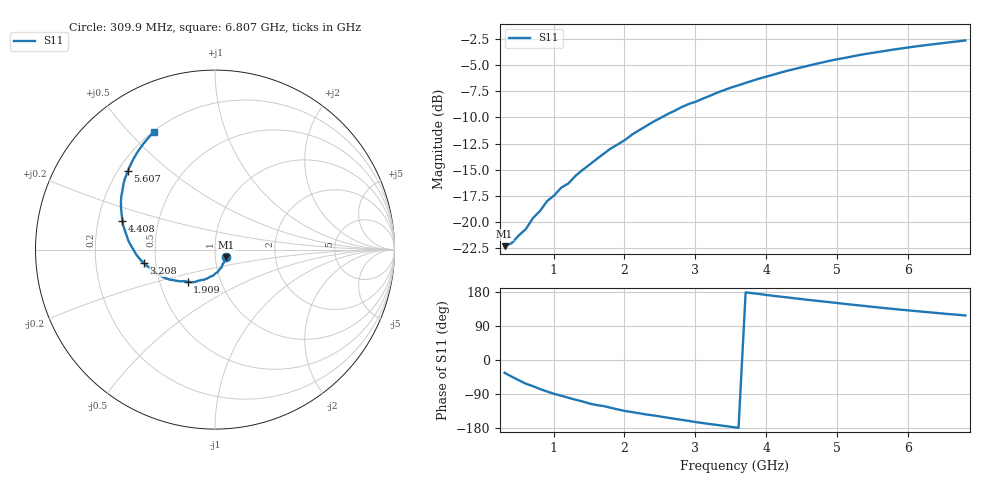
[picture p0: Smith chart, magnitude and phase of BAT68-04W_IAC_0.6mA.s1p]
! Infineon Technologies  Discrete & RF Semiconductors
! BAT68-04W
! IAC = 0.6 mA
! One-Port S-Parameters
# Hz  S  MA  R  50
!f  S11
!Hz  Mag  Ang
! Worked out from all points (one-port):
!   66 points, 309.9 MHz to 6.807 GHz, reference 50 ohm
!   lowest |S11| = -22.3 dB at 309.9 MHz (marker M1), VSWR 1.17, Z = 56.6 - j4.85 ohm
!   |S11| at or under -10 dB: start of sweep to 2.522 GHz
!   S11 on the Smith chart (normalised r, x): 309.9 MHz: 1.13, -0.10; 1.909 GHz: 0.69, -0.26; 3.208 GHz: 0.43, -0.08; 4.408 GHz: 0.30, +0.14; 5.607 GHz: 0.24, +0.36; 6.807 GHz: 0.20, +0.59
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3.0985e8  0.07649 -33.8
4.098e8  0.07909 -43.9
6.097e8  0.09235 -62.6
7.0965e8  0.1044 -69.0
8.096e8  0.1128 -76.7
9.0955e8  0.1258 -83.3
1.0095e9  0.1339 -89.4
1.10945e9  0.1459 -94.3
1.2094e9  0.1527 -99.6
1.30935e9  0.166 -104.8
1.4093e9  0.1773 -109.5
1.70915e9  0.2121 -121.6
1.90905e9  0.2352 -130.6
2.009e9  0.247 -134.6
2.10895e9  0.262 -137.5
2.4088e9  0.3019 -146.2
2.8086e9  0.3547 -158.0
3.2084e9  0.4019 -169.2
3.4083e9  0.4278 -174.0
3.6082e9  0.4507 -179.2
3.90805e9  0.486 174.0
4.4078e9  0.5401 162.6
4.90755e9  0.5917 152.3
5.2074e9  0.6191 146.0
5.6072e9  0.6529 138.1
6.007e9  0.6841 130.8
6.30685e9  0.7053 125.6
6.8066e9  0.7386 117.5
